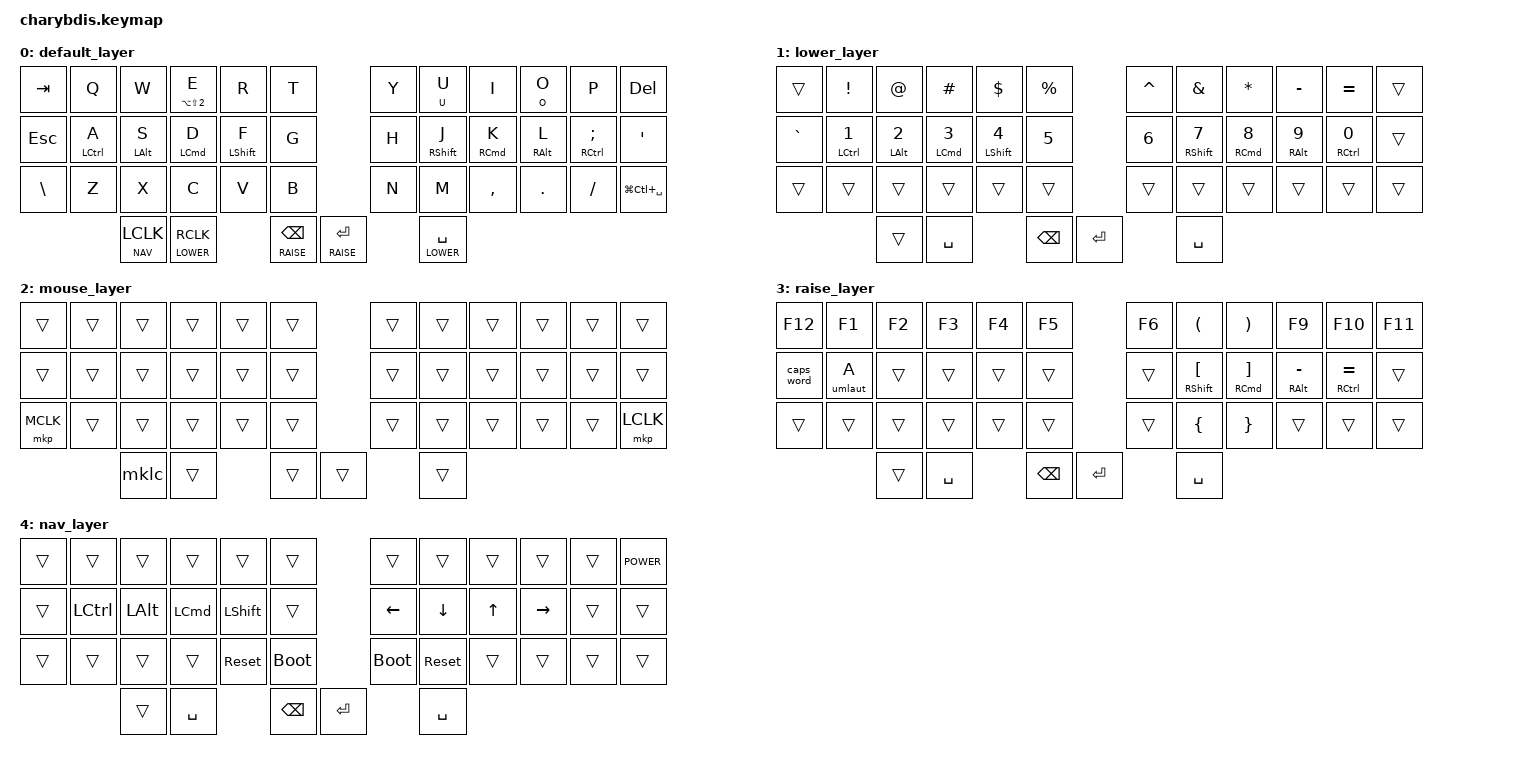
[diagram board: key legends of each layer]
#include <behaviors.dtsi>
#include <dt-bindings/zmk/mouse.h>
#include <dt-bindings/zmk/keys.h>
#include <dt-bindings/zmk/bt.h>
#include <dt-bindings/zmk/outputs.h>
#include <dt-bindings/zmk/keys.h>

#define DEFAULT 0
#define LOWER   1
#define MOUSE   2
#define RAISE   3
#define NAV     4

// todo: make dongle work.
// https://github.com/zmkfirmware/zmk/tree/main/app/boards/shields/corne
// https://github.com/aroum/zmk-enki42

// https://nickcoutsos.github.io/keymap-editor

&lt {
    quick-tap-ms = <200>;
    flavor = "balanced";
};

&caps_word {
    continue-list = <UNDERSCORE MINUS>;
};

/ {
      behaviors {
        hm: hold_preferred_homerow_mods {
            compatible = "zmk,behavior-hold-tap";
            #binding-cells = <2>;
            tapping-term-ms = <150>;
            quick-tap-ms = <200>;
            require-prior-idle-ms = <125>;
            flavor = "hold-preferred";
            bindings = <&kp>, <&kp>;
        };
        tm: tap_preferred_homerow_mods {
            compatible = "zmk,behavior-hold-tap";
            #binding-cells = <2>;
            tapping-term-ms = <150>;
            quick-tap-ms = <200>;
            require-prior-idle-ms = <125>;
            flavor = "tap-preferred";
            bindings = <&kp>, <&kp>;
        };
        mlt: mouse_lt {
            compatible = "zmk,behavior-hold-tap";
            #binding-cells = <2>;
            tapping-term-ms = <150>;
            tapping-term-ms = <200>;
            require-prior-idle-ms = <125>;
            flavor = "hold-preferred";
            bindings = <&mo>, <&mkp>;
        };
        um: tap_preferred_umlaut_mods {
            compatible = "zmk,behavior-hold-tap";
            #binding-cells = <2>;
            tapping-term-ms = <150>;
            quick-tap-ms = <200>;
            require-prior-idle-ms = <125>;
            flavor = "tap-preferred";
            // long press will forward the key to the umlaut macro
            bindings = <&umlaut>, <&kp>;
        };
        umlaut_unshifted: umlaut_unshifted {
            compatible = "zmk,behavior-mod-morph";
            #binding-cells = <0>;
            bindings = <&kp LA(U)>, <&kp LA(U)>;
            // the mod-morph will prevent the shift modifier from being sent while sending the umlaut shortcut
            mods = <(MOD_LSFT|MOD_RSFT)>;
        };
    };
    macros {
        umlaut: umlaut {
            compatible = "zmk,behavior-macro-one-param";
            #binding-cells = <1>;
            // use the mod-morph behavior to send the umlaut shortcut and then tap the given parameter key
            bindings =
                <&umlaut_unshifted>,
                <&macro_tap>,
                <&macro_param_1to1 &kp MACRO_PLACEHOLDER>;
        };
        mklc: mouse_click_layer_change {
            compatible = "zmk,behavior-macro";
            #binding-cells = <0>;
            bindings =
                <&macro_press &mkp LCLK>,
                <&macro_pause_for_release>,
                <&macro_release &mkp LCLK>,
                <&macro_tap &tog MOUSE>;
        };
    };
        keymap {
                compatible = "zmk,keymap";
                default_layer {
                        bindings = <
//,----------------------------------------------------------------------.            ,---------------------------------------------------------------------------------.
    &kp TAB         &kp Q       &kp W   &tm LA(LS(N2)) E    &kp R   &kp T               &kp Y       &um U U        &kp I      &um O O           &kp P             &kp DEL
//|---------+-------------+-----------+------------+-------------+-------|            |------+-------------+------------+-----------+---------------+-------------------|
    &kp ESC   &tm LCTRL A   &tm LALT S  &tm LCMD D   &hm LSHFT F   &kp G               &kp H   &hm RSHFT J   &tm RCMD K   &tm RALT L  &tm RCTRL SEMI             &kp SQT
//|---------+-------------+-----------+------------+-------------+-------|            |------+-------------+------------+-----------+---------------+-------------------|
   &kp BSLH         &kp Z       &kp X        &kp C         &kp V   &kp B               &kp N       &kp M      &kp COMMA     &kp DOT        &kp FSLH   &kp LG(LC(SPACE))
//|---------+-------------+-----------+------------+-------------+-------+----|  |----+------+-------------+------------+-----------+---------------+-------------------|
                                          &mlt NAV LCLK  &mlt LOWER RCLK  &lt RAISE BSPC     &lt RAISE RET   &lt LOWER SPACE
                                       //`--------+-----------+---------------'  `---------------+----------------'
                        >;
                };
                lower_layer {
                        bindings = <
//,------------------------------------------------------------.            ,---------------------------------------------------------------------------------.
   &trans  &kp EXCLAMATION  &kp AT  &kp HASH  &kp DOLLAR  &kp PERCENT        &kp CARET  &kp AMPERSAND   &kp ASTERISK       &kp MINUS        &kp EQUAL   &trans
//|-------+-----------+---------+----------+-----------+-------|            |------+-----------------+---------------+---------------+----------------+-------|
   &kp GRAVE  &tm LCTRL N1  &tm LALT N2  &tm LCMD N3  &hm LSHFT N4  &kp N5   &kp N6   &hm RSHFT N7      &tm RCMD N8     &tm RALT N9     &tm RCTRL N0    &trans
//|-------+-----------+---------+----------+-----------+-------|            |------+-----------------+---------------+---------------+----------------+-------|
   &trans      &trans    &trans     &trans      &trans   &trans              &trans           &trans          &trans          &trans           &trans   &trans
//|-------+-----------+---------+----------+-----------+-------+----|  |----+------+-----------------+---------------+---------------+----------------+-------|
                                       &trans   &kp SPACE   &kp BSPC    &kp RET   &kp SPACE
                                    //`-------+-----------+---------'  `--------+----------'
                        >;
                };
                mouse_layer {
                        bindings = <
//,--------------------------------------------------------------.            ,---------------------------------------------------------------.
    &trans   &trans      &trans       &trans      &trans   &trans                &trans     &trans   &trans      &trans   &trans   &trans
//|--------+-----------+----------+----------+-----------+-------|            |---------+----------+--------+-----------+--------+------------|
    &trans   &trans      &trans       &trans      &trans   &trans                &trans     &trans   &trans      &trans   &trans   &trans
//|--------+-----------+----------+----------+-----------+-------|            |---------+----------+--------+-----------+--------+------------|
    &mkp MCLK   &trans   &trans       &trans      &trans   &trans                &trans     &trans   &trans      &trans   &trans   &mkp LCLK
//|--------+-----------+----------+----------+-----------+-------+----|  |----+---------+----------+--------+-----------+--------+------------|
                               &mklc  &trans             &trans           &trans         &trans
                            //`----+-----------------+----------------'  `---------------+----------------'
                        >;
                };
                raise_layer {
                        bindings = <
//,-------------------------------------------------------------.            ,----------------------------------------------------------------------.
   &kp F12   &kp F1   &kp F2   &kp F3       &kp F4   &kp F5                        &kp F6     &kp LPAR         &kp RPAR   &kp F9   &kp F10   &kp F11
//|--------+--------+--------+--------+------------+------------|            |------------+------------+----------------+--------+---------+--------|
   &caps_word &umlaut A &trans &trans       &trans   &trans                        &trans  &hm RSHFT LBKT  &hm RCMD RBKT  &hm RALT MINUS  &hm RCTRL EQUAL  &trans
//|--------+--------+--------+--------+------------+------------|            |------------+------------+----------------+--------+---------+--------|
    &trans   &trans   &trans   &trans       &trans   &trans                         &trans  &kp LBRC            &kp RBRC   &trans    &trans   &trans
//|--------+--------+--------+--------+------------+------------+----|  |----+------------+------------+----------------+--------+---------+--------|
                                    &trans   &kp SPACE   &kp BSPC    &kp RET   &kp SPACE
                                 //`-------+-----------+---------'  `--------+----------'
                        >;
                };
                nav_layer {
                        bindings = <
//,--------------------------------------------------------------.            ,---------------------------------------------------------------.
    &trans   &trans      &trans       &trans      &trans   &trans                &trans     &trans   &trans      &trans   &trans   &kp C_POWER
//|--------+-----------+----------+----------+-----------+-------|            |---------+----------+--------+-----------+--------+------------|
    &trans   &kp LCTRL   &kp LALT   &kp LCMD   &kp LSHFT   &trans              &kp LEFT   &kp DOWN   &kp UP   &kp RIGHT   &trans   &trans
//|--------+-----------+----------+----------+-----------+-------|            |---------+----------+--------+-----------+--------+------------|
    &trans   &trans      &trans       &trans  &sys_reset  &bootloader         &bootloader  &sys_reset  &trans     &trans   &trans   &trans
//|--------+-----------+----------+----------+-----------+-------+----|  |----+---------+----------+--------+-----------+--------+------------|
                                            &trans   &kp SPACE   &kp BSPC    &kp RET   &kp SPACE
                                         //`-------+-----------+---------'  `--------+----------'
                        >;
                };
        };
};
